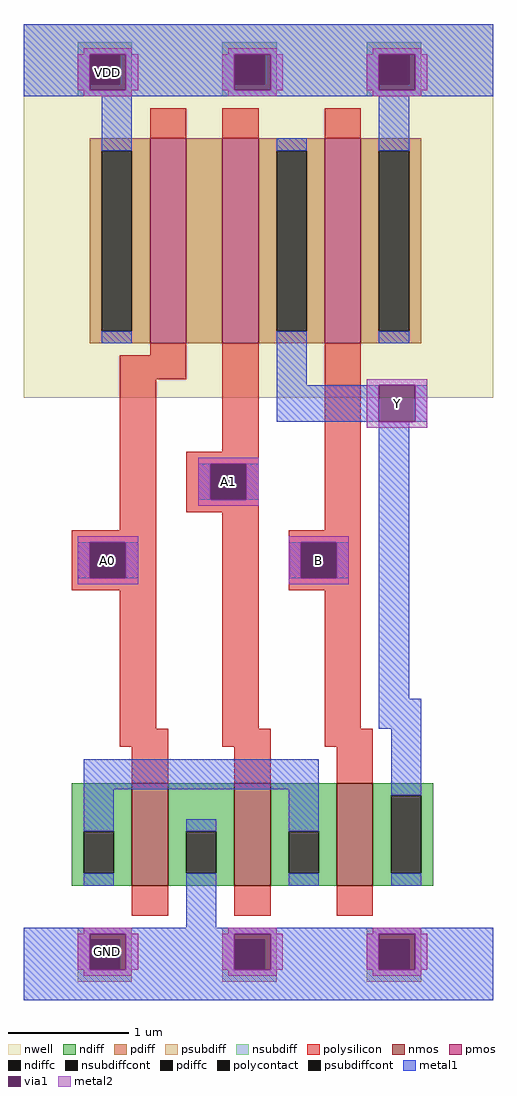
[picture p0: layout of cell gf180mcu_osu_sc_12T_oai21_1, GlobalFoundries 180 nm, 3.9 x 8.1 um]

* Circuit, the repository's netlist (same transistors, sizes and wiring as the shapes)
.inc "../../char/techfiles/design.hspice"
.lib "../../char/techfiles/sm141064.hspice" typical

.GLOBAL VDD
.GLOBAL GND

.option scale=0.05u

.subckt gf180mcu_osu_sc_12T_oai21_1 Y A0 A1 B
X0 Y B a_8_16 GND nmos_3p3 w=17 l=6
X1 GND A0 a_8_16 GND nmos_3p3 w=17 l=6
X2 a_27_106 A0 VDD VDD pmos_3p3 w=34 l=6
X3 VDD B Y VDD pmos_3p3 w=34 l=6
X4 Y A1 a_27_106 VDD pmos_3p3 w=34 l=6
X5 a_8_16 A1 GND GND nmos_3p3 w=17 l=6
.ends

** hspice subcircuit dictionary

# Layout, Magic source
magic
tech gf180mcuC
<< nwell >>
rect 0 97 78 159
<< nmos >>
rect 18 16 24 33
rect 35 16 41 33
rect 52 16 58 33
<< pmos >>
rect 21 106 27 140
rect 33 106 39 140
rect 50 106 56 140
<< ndiff >>
rect 8 25 18 33
rect 8 18 10 25
rect 15 18 18 25
rect 8 16 18 18
rect 24 25 35 33
rect 24 18 27 25
rect 32 18 35 25
rect 24 16 35 18
rect 41 25 52 33
rect 41 18 44 25
rect 49 18 52 25
rect 41 16 52 18
rect 58 31 68 33
rect 58 18 61 31
rect 66 18 68 31
rect 58 16 68 18
<< pdiff >>
rect 11 138 21 140
rect 11 108 13 138
rect 18 108 21 138
rect 11 106 21 108
rect 27 106 33 140
rect 39 138 50 140
rect 39 108 42 138
rect 47 108 50 138
rect 39 106 50 108
rect 56 138 66 140
rect 56 108 59 138
rect 64 108 66 138
rect 56 106 66 108
<< ndiffc >>
rect 10 18 15 25
rect 27 18 32 25
rect 44 18 49 25
rect 61 18 66 31
<< pdiffc >>
rect 13 108 18 138
rect 42 108 47 138
rect 59 108 64 138
<< psubdiff >>
rect 9 7 18 9
rect 9 2 11 7
rect 16 2 18 7
rect 9 0 18 2
rect 33 7 42 9
rect 33 2 35 7
rect 40 2 42 7
rect 33 0 42 2
rect 57 7 66 9
rect 57 2 59 7
rect 64 2 66 7
rect 57 0 66 2
<< nsubdiff >>
rect 9 154 18 156
rect 9 149 11 154
rect 16 149 18 154
rect 9 147 18 149
rect 33 154 42 156
rect 33 149 35 154
rect 40 149 42 154
rect 33 147 42 149
rect 57 154 66 156
rect 57 149 59 154
rect 64 149 66 154
rect 57 147 66 149
<< psubdiffcont >>
rect 11 2 16 7
rect 35 2 40 7
rect 59 2 64 7
<< nsubdiffcont >>
rect 11 149 16 154
rect 35 149 40 154
rect 59 149 64 154
<< polysilicon >>
rect 21 140 27 145
rect 33 140 39 145
rect 50 140 56 145
rect 21 104 27 106
rect 16 100 27 104
rect 16 75 22 100
rect 33 88 39 106
rect 27 86 39 88
rect 27 80 31 86
rect 37 80 39 86
rect 27 78 39 80
rect 8 73 22 75
rect 8 67 11 73
rect 17 67 22 73
rect 8 65 22 67
rect 16 42 22 65
rect 33 42 39 78
rect 50 75 56 106
rect 44 73 56 75
rect 44 67 46 73
rect 52 67 56 73
rect 44 65 56 67
rect 50 42 56 65
rect 16 39 24 42
rect 33 39 41 42
rect 50 39 58 42
rect 18 33 24 39
rect 35 33 41 39
rect 52 33 58 39
rect 18 11 24 16
rect 35 11 41 16
rect 52 11 58 16
<< polycontact >>
rect 31 80 37 86
rect 11 67 17 73
rect 46 67 52 73
<< metal1 >>
rect 0 154 78 159
rect 0 148 11 154
rect 17 148 35 154
rect 41 148 59 154
rect 65 148 78 154
rect 0 147 78 148
rect 13 138 18 147
rect 13 106 18 108
rect 42 138 47 140
rect 42 99 47 108
rect 59 138 64 147
rect 59 106 64 108
rect 42 93 59 99
rect 65 93 67 99
rect 29 80 31 86
rect 37 80 39 86
rect 9 67 11 73
rect 17 67 19 73
rect 44 67 46 73
rect 52 67 54 73
rect 59 47 64 93
rect 59 42 66 47
rect 10 32 49 37
rect 10 25 15 32
rect 10 16 15 18
rect 27 25 32 27
rect 27 9 32 18
rect 44 25 49 32
rect 44 16 49 18
rect 61 31 66 42
rect 61 16 66 18
rect 0 8 78 9
rect 0 2 11 8
rect 17 2 35 8
rect 41 2 59 8
rect 65 2 78 8
rect 0 -3 78 2
<< via1 >>
rect 11 149 16 154
rect 16 149 17 154
rect 11 148 17 149
rect 35 149 40 154
rect 40 149 41 154
rect 35 148 41 149
rect 59 149 64 154
rect 64 149 65 154
rect 59 148 65 149
rect 59 93 65 99
rect 31 80 37 86
rect 11 67 17 73
rect 46 67 52 73
rect 11 7 17 8
rect 11 2 16 7
rect 16 2 17 7
rect 35 7 41 8
rect 35 2 40 7
rect 40 2 41 7
rect 59 7 65 8
rect 59 2 64 7
rect 64 2 65 7
<< metal2 >>
rect 10 154 18 155
rect 34 154 42 155
rect 58 154 66 155
rect 9 148 11 154
rect 17 148 19 154
rect 33 148 35 154
rect 41 148 43 154
rect 57 148 59 154
rect 65 148 67 154
rect 10 147 18 148
rect 34 147 42 148
rect 58 147 66 148
rect 57 99 67 100
rect 57 93 59 99
rect 65 93 67 99
rect 57 92 67 93
rect 29 86 39 87
rect 29 80 31 86
rect 37 80 39 86
rect 29 79 39 80
rect 9 73 19 74
rect 9 67 11 73
rect 17 67 19 73
rect 9 66 19 67
rect 44 73 54 74
rect 44 67 46 73
rect 52 67 54 73
rect 44 66 54 67
rect 10 8 18 9
rect 34 8 42 9
rect 58 8 66 9
rect 9 2 11 8
rect 17 2 19 8
rect 33 2 35 8
rect 41 2 43 8
rect 57 2 59 8
rect 65 2 67 8
rect 10 1 18 2
rect 34 1 42 2
rect 58 1 66 2
<< labels >>
rlabel metal2 14 5 14 5 1 GND
rlabel metal2 14 151 14 151 1 VDD
rlabel metal2 34 83 34 83 1 A1
port 6 n
rlabel metal2 49 70 49 70 1 B
port 7 n
rlabel metal2 62 96 62 96 1 Y
port 4 n
rlabel metal2 14 70 14 70 1 A0
port 5 n
<< end >>
